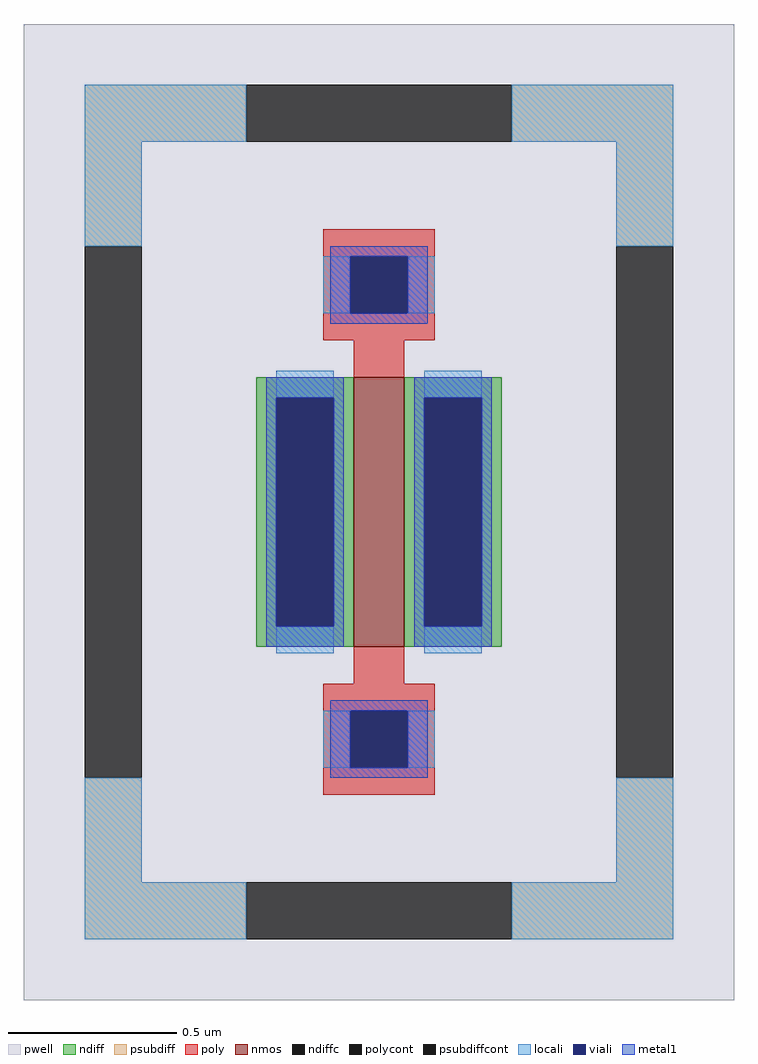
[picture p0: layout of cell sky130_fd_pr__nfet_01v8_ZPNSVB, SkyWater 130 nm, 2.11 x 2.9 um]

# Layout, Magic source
magic
tech sky130A
magscale 1 2
<< pwell >>
rect -211 -290 211 290
<< nmos >>
rect -15 -80 15 80
<< ndiff >>
rect -73 68 -15 80
rect -73 -68 -61 68
rect -27 -68 -15 68
rect -73 -80 -15 -68
rect 15 68 73 80
rect 15 -68 27 68
rect 61 -68 73 68
rect 15 -80 73 -68
<< ndiffc >>
rect -61 -68 -27 68
rect 27 -68 61 68
<< psubdiff >>
rect -175 220 -79 254
rect 79 220 175 254
rect -175 158 -141 220
rect 141 158 175 220
rect -175 -220 -141 -158
rect 141 -220 175 -158
rect -175 -254 -79 -220
rect 79 -254 175 -220
<< psubdiffcont >>
rect -79 220 79 254
rect -175 -158 -141 158
rect 141 -158 175 158
rect -79 -254 79 -220
<< poly >>
rect -33 152 33 168
rect -33 118 -17 152
rect 17 118 33 152
rect -33 102 33 118
rect -15 80 15 102
rect -15 -102 15 -80
rect -33 -118 33 -102
rect -33 -152 -17 -118
rect 17 -152 33 -118
rect -33 -168 33 -152
<< polycont >>
rect -17 118 17 152
rect -17 -152 17 -118
<< locali >>
rect -175 220 -79 254
rect 79 220 175 254
rect -175 158 -141 220
rect 141 158 175 220
rect -33 118 -17 152
rect 17 118 33 152
rect -61 68 -27 84
rect -61 -84 -27 -68
rect 27 68 61 84
rect 27 -84 61 -68
rect -33 -152 -17 -118
rect 17 -152 33 -118
rect -175 -220 -141 -158
rect 141 -220 175 -158
rect -175 -254 -79 -220
rect 79 -254 175 -220
<< viali >>
rect -17 118 17 152
rect -61 -68 -27 68
rect 27 -68 61 68
rect -17 -152 17 -118
<< metal1 >>
rect -29 152 29 158
rect -29 118 -17 152
rect 17 118 29 152
rect -29 112 29 118
rect -67 68 -21 80
rect -67 -68 -61 68
rect -27 -68 -21 68
rect -67 -80 -21 -68
rect 21 68 67 80
rect 21 -68 27 68
rect 61 -68 67 68
rect 21 -80 67 -68
rect -29 -118 29 -112
rect -29 -152 -17 -118
rect 17 -152 29 -118
rect -29 -158 29 -152
<< properties >>
string FIXED_BBOX -158 -237 158 237
string gencell sky130_fd_pr__nfet_01v8
string library sky130
string parameters w 0.8 l 0.15 m 1 nf 1 diffcov 100 polycov 100 guard 1 glc 1 grc 1 gtc 1 gbc 1 tbcov 100 rlcov 100 topc 1 botc 1 poverlap 0 doverlap 1 lmin 0.15 wmin 0.42 compatible {sky130_fd_pr__nfet_01v8 sky130_fd_pr__nfet_01v8_lvt  sky130_fd_bs_flash__special_sonosfet_star  sky130_fd_pr__nfet_g5v0d10v5 sky130_fd_pr__nfet_05v0_nvt  sky130_fd_pr__nfet_03v3_nvt} full_metal 1 viasrc 100 viadrn 100 viagate 100 viagb 0 viagr 0 viagl 0 viagt 0
<< end >>
